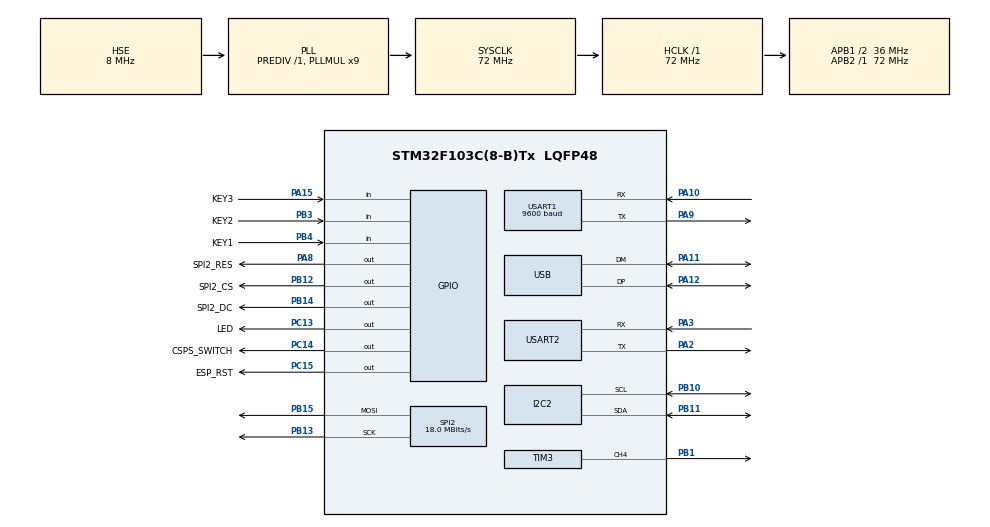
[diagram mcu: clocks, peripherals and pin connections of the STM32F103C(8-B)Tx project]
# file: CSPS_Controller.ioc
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Dma.Request0=USART2_RX
Dma.Request1=SPI2_TX
Dma.Request2=USART1_TX
Dma.SPI2_TX.1.Direction=DMA_MEMORY_TO_PERIPH
Dma.SPI2_TX.1.Instance=DMA1_Channel5
Dma.SPI2_TX.1.MemDataAlignment=DMA_MDATAALIGN_BYTE
Dma.SPI2_TX.1.MemInc=DMA_MINC_ENABLE
Dma.SPI2_TX.1.Mode=DMA_NORMAL
Dma.SPI2_TX.1.PeriphDataAlignment=DMA_PDATAALIGN_BYTE
Dma.SPI2_TX.1.PeriphInc=DMA_PINC_DISABLE
Dma.SPI2_TX.1.Priority=DMA_PRIORITY_LOW
Dma.USART1_TX.2.Direction=DMA_MEMORY_TO_PERIPH
Dma.USART1_TX.2.Instance=DMA1_Channel4
Dma.USART1_TX.2.MemDataAlignment=DMA_MDATAALIGN_BYTE
Dma.USART1_TX.2.MemInc=DMA_MINC_ENABLE
Dma.USART1_TX.2.Mode=DMA_NORMAL
Dma.USART1_TX.2.PeriphDataAlignment=DMA_PDATAALIGN_BYTE
Dma.USART1_TX.2.PeriphInc=DMA_PINC_DISABLE
Dma.USART1_TX.2.Priority=DMA_PRIORITY_LOW
Dma.USART2_RX.0.Direction=DMA_PERIPH_TO_MEMORY
Dma.USART2_RX.0.Instance=DMA1_Channel6
Dma.USART2_RX.0.MemDataAlignment=DMA_MDATAALIGN_BYTE
Dma.USART2_RX.0.MemInc=DMA_MINC_ENABLE
Dma.USART2_RX.0.Mode=DMA_NORMAL
Dma.USART2_RX.0.PeriphDataAlignment=DMA_PDATAALIGN_BYTE
Dma.USART2_RX.0.PeriphInc=DMA_PINC_DISABLE
Dma.USART2_RX.0.Priority=DMA_PRIORITY_LOW
FREERTOS.Tasks01=testTask,24,128,StartTestTask,Default,NULL,Dynamic,NULL,NULL;oledRefreshTask,8,512,StartOLEDRefreshTask,Default,NULL,Static,oledRefreshTaskBuffer,oledRefreshTaskControlBlock
Mcu.Family=STM32F1
Mcu.Name=STM32F103C(8-B)Tx
Mcu.Package=LQFP48
NVIC.DMA1_Channel4_IRQn=true\:5\:0\:false\:false\:true\:true\:false\:true\:true
NVIC.DMA1_Channel5_IRQn=true\:5\:0\:false\:false\:true\:true\:false\:true\:true
NVIC.DMA1_Channel6_IRQn=true\:5\:0\:false\:false\:true\:true\:false\:true\:true
NVIC.PriorityGroup=NVIC_PRIORITYGROUP_4
NVIC.TIM1_UP_IRQn=true\:5\:0\:false\:false\:true\:true\:true\:true\:true
NVIC.TIM2_IRQn=true\:15\:0\:false\:false\:true\:false\:false\:true\:true
NVIC.TimeBase=TIM2_IRQn
NVIC.TimeBaseIP=TIM2
NVIC.USART1_IRQn=true\:5\:0\:false\:false\:true\:true\:true\:true\:true
NVIC.USART2_IRQn=true\:5\:0\:false\:false\:true\:true\:true\:true\:true
NVIC.USB_LP_CAN1_RX0_IRQn=true\:5\:0\:false\:false\:true\:true\:false\:true\:true
PA10.Mode=Asynchronous
PA10.Signal=USART1_RX
PA11.Mode=Device
PA11.Signal=USB_DM
PA12.Mode=Device
PA12.Signal=USB_DP
PA13.Mode=Serial_Wire
PA13.Signal=SYS_JTMS-SWDIO
PA14.Mode=Serial_Wire
PA14.Signal=SYS_JTCK-SWCLK
PA15.GPIO_Label=KEY3
PA15.GPIO_PuPd=GPIO_PULLUP
PA15.Signal=GPIO_Input
PA2.Mode=Asynchronous
PA2.Signal=USART2_TX
PA3.Mode=Asynchronous
PA3.Signal=USART2_RX
PA8.GPIO_Label=SPI2_RES
PA8.Signal=GPIO_Output
PA9.Mode=Asynchronous
PA9.Signal=USART1_TX
PB1.Signal=S_TIM3_CH4
PB10.Mode=I2C
PB10.Signal=I2C2_SCL
PB11.Mode=I2C
PB11.Signal=I2C2_SDA
PB12.GPIO_Label=SPI2_CS
PB12.Signal=GPIO_Output
PB13.Mode=TX_Only_Simplex_Unidirect_Master
PB13.Signal=SPI2_SCK
PB14.GPIO_Label=SPI2_DC
PB14.Signal=GPIO_Output
PB15.Mode=TX_Only_Simplex_Unidirect_Master
PB15.Signal=SPI2_MOSI
PB3.GPIO_Label=KEY2
PB3.GPIO_PuPd=GPIO_PULLUP
PB3.Signal=GPIO_Input
PB4.GPIO_Label=KEY1
PB4.GPIO_PuPd=GPIO_PULLUP
PB4.Signal=GPIO_Input
PC13-TAMPER-RTC.GPIO_Label=LED
PC13-TAMPER-RTC.Signal=GPIO_Output
PC14-OSC32_IN.GPIO_Label=CSPS_SWITCH
PC14-OSC32_IN.GPIO_PuPd=GPIO_PULLDOWN
PC14-OSC32_IN.Signal=GPIO_Output
PC15-OSC32_OUT.GPIO_Label=ESP_RST
PC15-OSC32_OUT.GPIO_PuPd=GPIO_PULLDOWN
PC15-OSC32_OUT.Signal=GPIO_Output
PD0-OSC_IN.Mode=HSE-External-Oscillator
PD0-OSC_IN.Signal=RCC_OSC_IN
PD1-OSC_OUT.Mode=HSE-External-Oscillator
PD1-OSC_OUT.Signal=RCC_OSC_OUT
ProjectManager.HeapSize=0x200
ProjectManager.StackSize=0x400
ProjectManager.TargetToolchain=CMake
RCC.AHBFreq_Value=72000000
RCC.APB1CLKDivider=RCC_HCLK_DIV2
RCC.APB1Freq_Value=36000000
RCC.APB1TimFreq_Value=72000000
RCC.APB2Freq_Value=72000000
RCC.APB2TimFreq_Value=72000000
RCC.HCLKFreq_Value=72000000
RCC.PLLMUL=RCC_PLL_MUL9
RCC.PLLSourceVirtual=RCC_PLLSOURCE_HSE
RCC.SYSCLKFreq_VALUE=72000000
RCC.SYSCLKSource=RCC_SYSCLKSOURCE_PLLCLK
RCC.USBFreq_Value=48000000
RCC.USBPrescaler=RCC_USBCLKSOURCE_PLL_DIV1_5
SH.S_TIM3_CH4.0=TIM3_CH4,PWM Generation4 CH4
SPI2.BaudRatePrescaler=SPI_BAUDRATEPRESCALER_2
SPI2.CalculateBaudRate=18.0 MBits/s
SPI2.Direction=SPI_DIRECTION_2LINES
SPI2.Mode=SPI_MODE_MASTER
SPI2.VirtualType=VM_MASTER
TIM1.AutoReloadPreload=TIM_AUTORELOAD_PRELOAD_ENABLE
TIM1.Period=71
TIM1.Prescaler=4999
TIM3.Channel-PWM\ Generation4\ CH4=TIM_CHANNEL_4
TIM3.Period=369
TIM3.Prescaler=71
USART1.BaudRate=9600
USART1.VirtualMode=VM_ASYNC
USART2.VirtualMode=VM_ASYNC
USB_DEVICE.CLASS_NAME_FS=CUSTOM_HID
USB_DEVICE.USBD_CUSTOMHID_OUTREPORT_BUF_SIZE=9
USB_DEVICE.USBD_CUSTOM_HID_REPORT_DESC_SIZE=38
USB_DEVICE.VirtualMode=CustomHid
USB_DEVICE.VirtualModeFS=Custom_Hid_FS
VP_FREERTOS_VS_CMSIS_V2.Mode=CMSIS_V2
VP_SYS_VS_tim2.Mode=TIM2
VP_TIM1_VS_ClockSourceINT.Mode=Internal
VP_USB_DEVICE_VS_USB_DEVICE_CUSTOM_HID_FS.Mode=CUSTOM_HID_FS
board=custom

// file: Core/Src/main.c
/* USER CODE BEGIN Header */
/**
  ******************************************************************************
  * @file           : main.c
  * @brief          : Main program body
  ******************************************************************************
  * @attention
  *
  * Copyright (c) 2025 STMicroelectronics.
  * All rights reserved.
  *
  * This software is licensed under terms that can be found in the LICENSE file
  * in the root directory of this software component.
  * If no LICENSE file comes with this software, it is provided AS-IS.
  *
  ******************************************************************************
  */
/* USER CODE END Header */
#include "main.h"
#include "cmsis_os.h"
#include "dma.h"
#include "i2c.h"
#include "spi.h"
#include "tim.h"
#include "usart.h"
#include "usb_device.h"
#include "gpio.h"

/* USER CODE BEGIN Includes */
#include <stdio.h>

#include "serial.h"
#include "key.h"
#include "easebridge.h"
#include "timRefresh.h"
#include "beep.h"
#include "CSPScom.h"
/* USER CODE END Includes */

void SystemClock_Config(void);
void MX_FREERTOS_Init(void);

int main(void)
{

  /* MCU Configuration--------------------------------------------------------*/

  /* Reset of all peripherals, Initializes the Flash interface and the Systick. */
  HAL_Init();

  /* Configure the system clock */
  SystemClock_Config();

  /* USER CODE BEGIN SysInit */
  //TODO: ESP01s和STM32同时上电导致STM23 RX不接收数据
  //__HAL_RCC_GPIOC_CLK_ENABLE();
  //HAL_GPIO_WritePin(ESP_RST_GPIO_Port,ESP_RST_Pin,GPIO_PIN_SET);
  /* USER CODE END SysInit */

  /* Initialize all configured peripherals */
  MX_GPIO_Init();
  MX_DMA_Init();
  MX_USART2_UART_Init();
  MX_I2C2_Init();
  MX_TIM1_Init();
  MX_SPI2_Init();
  MX_USART1_UART_Init();
  MX_TIM3_Init();
  /* USER CODE BEGIN 2 */
  USART_Init();
  Beep_Init();
  TimRefresh_Init();
  /* USER CODE END 2 */

  /* Init scheduler */
  osKernelInitialize();

  /* Call init function for freertos objects (in cmsis_os2.c) */
  MX_FREERTOS_Init();

  /* Start scheduler */
  osKernelStart();

  /* We should never get here as control is now taken by the scheduler */

  /* Infinite loop */
  while (1)
  {

  }
}

void SystemClock_Config(void)
{
  RCC_OscInitTypeDef RCC_OscInitStruct = {0};
  RCC_ClkInitTypeDef RCC_ClkInitStruct = {0};
  RCC_PeriphCLKInitTypeDef PeriphClkInit = {0};

  /** Initializes the RCC Oscillators according to the specified parameters
  * in the RCC_OscInitTypeDef structure.
  */
  RCC_OscInitStruct.OscillatorType = RCC_OSCILLATORTYPE_HSE;
  RCC_OscInitStruct.HSEState = RCC_HSE_ON;
  RCC_OscInitStruct.HSEPredivValue = RCC_HSE_PREDIV_DIV1;
  RCC_OscInitStruct.HSIState = RCC_HSI_ON;
  RCC_OscInitStruct.PLL.PLLState = RCC_PLL_ON;
  RCC_OscInitStruct.PLL.PLLSource = RCC_PLLSOURCE_HSE;
  RCC_OscInitStruct.PLL.PLLMUL = RCC_PLL_MUL9;
  if (HAL_RCC_OscConfig(&RCC_OscInitStruct) != HAL_OK)
  {
    Error_Handler();
  }

  /** Initializes the CPU, AHB and APB buses clocks
  */
  RCC_ClkInitStruct.ClockType = RCC_CLOCKTYPE_HCLK|RCC_CLOCKTYPE_SYSCLK
                              |RCC_CLOCKTYPE_PCLK1|RCC_CLOCKTYPE_PCLK2;
  RCC_ClkInitStruct.SYSCLKSource = RCC_SYSCLKSOURCE_PLLCLK;
  RCC_ClkInitStruct.AHBCLKDivider = RCC_SYSCLK_DIV1;
  RCC_ClkInitStruct.APB1CLKDivider = RCC_HCLK_DIV2;
  RCC_ClkInitStruct.APB2CLKDivider = RCC_HCLK_DIV1;

  if (HAL_RCC_ClockConfig(&RCC_ClkInitStruct, FLASH_LATENCY_2) != HAL_OK)
  {
    Error_Handler();
  }
  PeriphClkInit.PeriphClockSelection = RCC_PERIPHCLK_USB;
  PeriphClkInit.UsbClockSelection = RCC_USBCLKSOURCE_PLL_DIV1_5;
  if (HAL_RCCEx_PeriphCLKConfig(&PeriphClkInit) != HAL_OK)
  {
    Error_Handler();
  }
}

/* USER CODE BEGIN 4 */
static uint16_t uCTick=0;
static uint16_t sleepTick=0;
extern volatile uint8_t uCRefreshFlag;
extern volatile uint8_t sleepFlag;
/* USER CODE END 4 */

void HAL_TIM_PeriodElapsedCallback(TIM_HandleTypeDef *htim)
{
  /* USER CODE BEGIN Callback 0 */
  if (htim->Instance == TIM1)
  {
    Key_Scan_Refresh();
    // if (!KEY2) {
    //   BeepOn();
    // }
    // else {
    //   BeepOff();
    // }
    EasingVar_Refresh();
    //printf("%d\r\n",sleepTick);
    uCTick++;
    if (uCTick==200) {
      uCTick=0;
      uCRefreshFlag=1;
    }
    if (sleepFlag==0)sleepTick++;
    if (sleepFlag==2){
      sleepTick=0;
      sleepFlag=0;
    }
    if (sleepTick>=2000)
    {
      sleepTick=0;
      sleepFlag=1;
    }
  }
  /* USER CODE END Callback 0 */
  if (htim->Instance == TIM2)
  {
    HAL_IncTick();
  }
}

void Error_Handler(void)
{
  __disable_irq();
  while (1)
  {
  }
}

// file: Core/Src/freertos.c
/* USER CODE BEGIN Header */
/**
  ******************************************************************************
  * File Name          : freertos.c
  * Description        : Code for freertos applications
  ******************************************************************************
  * @attention
  *
  * Copyright (c) 2025 STMicroelectronics.
  * All rights reserved.
  *
  * This software is licensed under terms that can be found in the LICENSE file
  * in the root directory of this software component.
  * If no LICENSE file comes with this software, it is provided AS-IS.
  *
  ******************************************************************************
  */
/* USER CODE END Header */

#include "FreeRTOS.h"
#include "task.h"
#include "main.h"
#include "cmsis_os.h"

/* USER CODE BEGIN Includes */
#include <string.h>
#include "oledSPI.h"
#include "oledui.h"
#include <stdio.h>
#include "CSPScom.h"
#include "loopbuffer.h"
/* USER CODE END Includes */

typedef StaticTask_t osStaticThreadDef_t;

/* USER CODE BEGIN Variables */
extern volatile uint8_t uCRefreshFlag;
extern UART_HandleTypeDef huart1;
/* USER CODE END Variables */
/* Definitions for testTask */
osThreadId_t testTaskHandle;
const osThreadAttr_t testTask_attributes = {
  .name = "testTask",
  .stack_size = 128 * 4,
  .priority = (osPriority_t) osPriorityNormal,
};
/* Definitions for oledRefreshTask */
osThreadId_t oledRefreshTaskHandle;
uint32_t oledRefreshTaskBuffer[ 512 ];
osStaticThreadDef_t oledRefreshTaskControlBlock;
const osThreadAttr_t oledRefreshTask_attributes = {
  .name = "oledRefreshTask",
  .cb_mem = &oledRefreshTaskControlBlock,
  .cb_size = sizeof(oledRefreshTaskControlBlock),
  .stack_mem = &oledRefreshTaskBuffer[0],
  .stack_size = sizeof(oledRefreshTaskBuffer),
  .priority = (osPriority_t) osPriorityLow,
};

void StartTestTask(void *argument);
void StartOLEDRefreshTask(void *argument);

extern void MX_USB_DEVICE_Init(void);
void MX_FREERTOS_Init(void); /* (MISRA C 2004 rule 8.1) */

void MX_FREERTOS_Init(void) {

  /* Create the thread(s) */
  /* creation of testTask */
  testTaskHandle = osThreadNew(StartTestTask, NULL, &testTask_attributes);

  /* creation of oledRefreshTask */
  oledRefreshTaskHandle = osThreadNew(StartOLEDRefreshTask, NULL, &oledRefreshTask_attributes);

}

void StartTestTask(void *argument)
{
  /* init code for USB_DEVICE */
  MX_USB_DEVICE_Init();
  /* USER CODE BEGIN StartTestTask */
  UNUSED(argument);
  uint8_t command[50];
  int commandLength = 0;
  uint8_t PowOn[]=  {0xAA,0x05,0x01,0x00,0xB0};
  uint8_t PowOff[]= {0xAA,0x05,0x01,0x01,0xB1};
  /* Infinite loop */
  for(;;)
  {
    HAL_GPIO_TogglePin(LED_GPIO_Port, LED_Pin);
    osDelay(100);

    commandLength = Command_GetCommand(command);
    if (commandLength != 0){
      printf("Get Command: ");
      // HAL_UART_Transmit_DMA(&huart1, (uint8_t*)command, commandLength);
      for (int i=0;i<5;i++)
      {
        if (PowOn[i] != command[i])break;
        if (i==4)
        {
          CSPS_Set_Power(1);
          printf("Power On\r\n");
        }
      }
      for (int i=0;i<5;i++)
      {
        if (PowOff[i] != command[i])break;
        if (i==4)
        {
          CSPS_Set_Power(0);
          printf("Power Off\r\n");
        }
      }
       //for (int i = 2; i < commandLength - 1; i ++){
      //   GPIO_PinState state = GPIO_PIN_SET;
      //   if (command[i + 1] == 0x00){
      //     state = GPIO_PIN_RESET;
      //   }
      //   if (command[i] == 0x01){
      //     HAL_GPIO_WritePin(RED_GPIO_Port, RED_Pin, state);
      //   }else if (command[i] == 0x02){
      //     HAL_GPIO_WritePin(GREEN_GPIO_Port, GREEN_Pin, state);
      //   }else if (command[i] == 0x03){
      //     HAL_GPIO_WritePin(BLUE_GPIO_Port, BLUE_Pin, state);
      //   }
       //}
    }

  }
  /* USER CODE END StartTestTask */
}

void StartOLEDRefreshTask(void *argument)
{
  /* USER CODE BEGIN StartOLEDRefreshTask */
  UNUSED(argument);
  OLED_Init();
  EaseVar_Init();
  OLEDUI_Init();

  /* Infinite loop */
  for(;;)
  {
    if (uCRefreshFlag==1) {
      CSPS_Var_Refresh();
      uCRefreshFlag=0;
      //UBaseType_t freeStack = uxTaskGetStackHighWaterMark(NULL);
      //printf("stack last: %lu words\r\n", freeStack);
    }
    OLEDUI_Refresh();
    //OLED_Draw_Rect(anim1.currentValue,0,anim1.currentValue+ICON48W,ICON48H,OLED_MIX_COVER);

    /*
    for (uint8_t i = 0;i < menu.optnum;i++)
    {
      OLED_Draw_Element(menu.opt[i].ele);
      OLED_Draw_Text(menu.opt[i].text);
      for (uint8_t j = 0;j < menu.opt[i].listnum;j++)
        OLED_Draw_Text(menu.opt[i].list[j].text);
    }
    OLED_Draw_FillRect(cursor.x0, cursor.y0, cursor.x1, cursor.y1, OLED_MIX_XOR);
    OLED_Draw_Point(cursor.x0, cursor.y0, OLED_MIX_XOR);
    OLED_Draw_Point(cursor.x0, cursor.y1 - 1, OLED_MIX_XOR);
    OLED_Draw_Point(cursor.x1 - 1, cursor.y0, OLED_MIX_XOR);
    OLED_Draw_Point(cursor.x1 - 1, cursor.y1 - 1, OLED_MIX_XOR);

    //滚动条背景
    OLED_Draw_Rect(121 + scrollbarOffset, 0, OLED_WIDTH_PIXEL - 1 + scrollbarOffset, OLED_HEIGHT_PIXEL - 1, OLED_MIX_COVER);
    //滚动条滑块
    OLED_Draw_FillRect(122 + scrollbarOffset, 0, OLED_WIDTH_PIXEL - 1 + scrollbarOffset, scrollOffset, OLED_MIX_COVER);
    */

    //osDelay(5);
  }
  /* USER CODE END StartOLEDRefreshTask */
}
